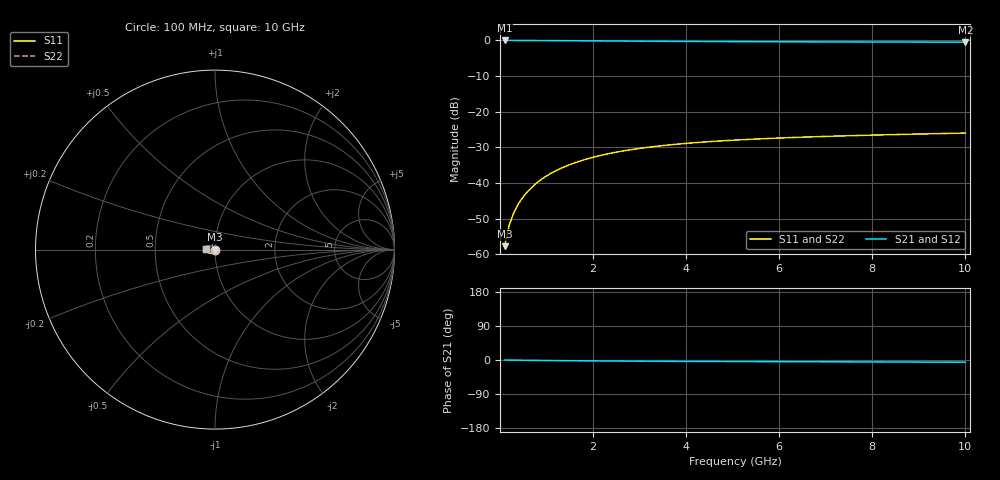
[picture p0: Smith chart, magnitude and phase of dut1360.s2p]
! Touchstone file exported from HFSS 2024.1.0
!  File:  C:/UserFiles/LocalFiles/RDL_TSV_Batchsim/temp_TSV1_1360_1780378144.aedt
!  Generated:  01:34:06 PM Jun  2, 2026
!  Design:  TSV1
!  Project:  temp_TSV1_1360_1780378144
!  Setup:  Setup1
!  Solution:  Sweep
! Variables:
!  dtsv = 9.39um
!  hbump = 3um
!  htsv = 91.79um
!  lrdl = 252.1521522um
!  p = 40
!  p1 = 49.12um
!  t = 500um
!  trdl = 3um
!  wrdl = 24.89489489um
# GHz S MA R 50.000000
! Terminal data exported
! Port[1] = TSV22_T1
! Port[2] = TSV22_T2
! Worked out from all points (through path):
!   100 points, 100 MHz to 10 GHz, reference 50 ohm
!   highest |S21| = 0.00 dB at 100 MHz (marker M1); lowest = -0.5 dB at 10 GHz (marker M2)
!   lowest |S11| = -57.7 dB at 100 MHz (marker M3), VSWR 1.00, Z = 50 - j0.129 ohm
!   |S11| at or under -10 dB: start of sweep to end of sweep
!   |S22| runs from -57.7 to -26.0 dB; largest |S21 - S12| = 3.5e-15
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0.1  0.001297 -83.8  0.9998 -0.1  0.9998 -0.1  0.001297 -83.8
! Gamma 0 0 0 0
! Port Impedance 50 0 50 0
0.2  0.002577 -89.4  0.9996 -0.3  0.9996 -0.3  0.002577 -89.4
0.3  0.00386 -92.4  0.9994 -0.4  0.9994 -0.4  0.00386 -92.4
0.4  0.00514 -94.9  0.9991 -0.5  0.9991 -0.5  0.00514 -94.9
0.5  0.006411 -97.0  0.9988 -0.7  0.9988 -0.7  0.006411 -97.0
0.6  0.007669 -99.1  0.9983 -0.8  0.9983 -0.8  0.007669 -99.1
0.7  0.008913 -101.0  0.9978 -0.9  0.9978 -0.9  0.008913 -101.0
0.8  0.01014 -102.9  0.9972 -1.0  0.9972 -1.0  0.01014 -102.9
0.9  0.01134 -104.8  0.9966 -1.2  0.9966 -1.2  0.01134 -104.8
1.1  0.01369 -108.4  0.9952 -1.4  0.9952 -1.4  0.01369 -108.4
1.4  0.01702 -113.4  0.9928 -1.7  0.9928 -1.7  0.01702 -113.4
1.6  0.0191 -116.7  0.991 -1.9  0.991 -1.9  0.0191 -116.7
1.8  0.02106 -119.8  0.9891 -2.1  0.9891 -2.1  0.02106 -119.8
2.1  0.0238 -124.2  0.9862 -2.4  0.9862 -2.4  0.0238 -124.2
2.5  0.02705 -129.7  0.9824 -2.7  0.9824 -2.7  0.02705 -129.7
2.9  0.02988 -134.7  0.9786 -3.0  0.9786 -3.0  0.02988 -134.7
3.4  0.0329 -140.5  0.9743 -3.3  0.9743 -3.3  0.0329 -140.5
4.2  0.03678 -148.5  0.9682 -3.6  0.9682 -3.6  0.03678 -148.5
5.1  0.0401 -156.1  0.9627 -4.0  0.9627 -4.0  0.0401 -156.1
6.7  0.04435 -167.2  0.9557 -4.6  0.9557 -4.6  0.04435 -167.2
8.4  0.04762 -176.6  0.9508 -5.2  0.9508 -5.2  0.04762 -176.6
10  0.05012 176.0  0.9476 -5.8  0.9476 -5.8  0.05012 176.0
